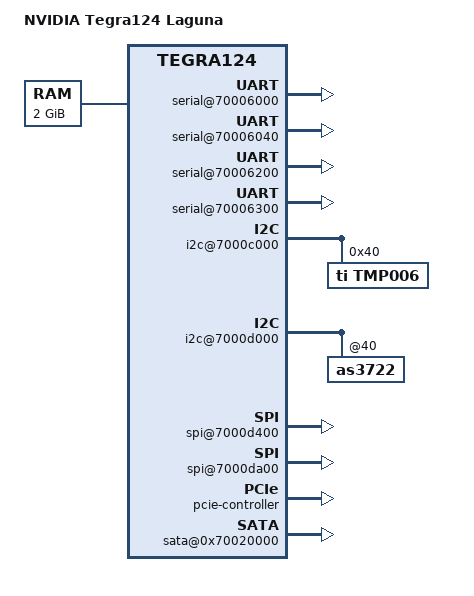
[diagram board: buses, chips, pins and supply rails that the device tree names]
/dts-v1/;

#include "tegra124.dtsi"
#include "tegra124-platforms/tegra124-tn8-keys-e1780-1100-a02.dtsi"
#include "tegra124-platforms/tegra124-pm359-gpio-default.dtsi"
#include "tegra124-platforms/tegra124-pm359-pinmux.dtsi"
#include "tegra124-platforms/tegra124-laguna-power-tree-pm359-0000-a00.dtsi"
#include "tegra124-platforms/tegra124-laguna-powermon-pm358.dtsi"

/ {
	model = "NVIDIA Tegra124 Laguna";
	compatible = "nvidia,laguna", "nvidia,tegra124";
	nvidia,dtsfilename = __FILE__;
	#address-cells = <2>;
	#size-cells = <2>;

	chosen {
		bootargs = "tegraid=40.0.0.00.00 vmalloc=256M video=tegrafb console=ttyS0,115200n8 earlyprintk";
		linux,initrd-start = <0x85000000>;
		linux,initrd-end = <0x851bc400>;
	};

	host1x {
		vi {
			avdd_dsi_csi-supply = <&as3722_ldo2>;
		};
	};

	pinmux@70000868 {
		pinctrl-names = "default", "drive", "unused", "suspend";
		pinctrl-3 = <&pinmux_suspend>;

		/* Change the pin dap_mclk1_req to required configurations */
		unused_lowpower {
			dap_mclk1_req_pee2 {
			nvidia,pins = "dap_mclk1_req_pee2";
			nvidia,function = "sata";
			nvidia,enable-input = <TEGRA_PIN_DISABLE>;
			nvidia,pull = <TEGRA_PIN_PULL_NONE>;
			nvidia,tristate = <TEGRA_PIN_DISABLE>;
			};
		};

		/* On suspend, make dap_mclk1_req to pull up */
		pinmux_suspend: pins_on_suspend {
		dap_mclk1_req_pee2 {
			nvidia,pins = "dap_mclk1_req_pee2";
			nvidia,pull = <TEGRA_PIN_PULL_UP>;
			};
		};
	};

        serial@70006000 {
                compatible = "nvidia,tegra114-hsuart";
                status = "okay";
        };

        serial@70006040 {
                compatible = "nvidia,tegra114-hsuart";
                status = "okay";
        };

        serial@70006200 {
                compatible = "nvidia,tegra114-hsuart";
                status = "okay";
        };

	serial@70006300 {
		compatible = "nvidia,tegra20-uart";
		console-port;
	};

	i2c@7000c000 {
		tmp006@40 {
			compatible = "ti,tmp006";
			reg = <0x40>;
		};
	};

	i2c@7000d000 {
		nvidia,bit-banging-xfer-after-shutdown;
		as3722@40 {
			ams,extcon-name = "as3722-extcon";
		};
	};

	memory@0x80000000 {
		device_type = "memory";
		reg = <0x0 0x80000000 0x0 0x80000000>;
	};

	spi@7000d400 {
		status = "okay";
		spi-max-frequency = <25000000>;
	};

	spi@7000da00 {
		status = "okay";
		spi-max-frequency = <25000000>;
	};

	pmc@7000e400 {
		status = "okay";
		nvidia,invert-interrupt;
		nvidia,suspend-mode = <0>;
		nvidia,cpu-pwr-good-time = <2000>;
		nvidia,cpu-pwr-off-time = <2000>;
		nvidia,core-pwr-good-time = <3845 3845>;
		nvidia,core-pwr-off-time = <2000>;
		nvidia,core-power-req-active-high;
		nvidia,sys-clock-req-active-high;
	};

	pcie-controller {
		nvidia,hot-plug-gpio = <&gpio TEGRA_GPIO(O, 1) 0>;
		nvidia,wake-gpio = <&gpio TEGRA_GPIO(DD, 3) 0>;
		hvdd-pex-supply = <&reg_3v3_supply>;
		hvdd-pex-pll-e-supply = <&reg_3v3_supply>;
		dvddio-pex-supply = <&as3722_sd4>;
		avddio-pex-supply = <&as3722_sd4>;
		avdd-pex-pll-supply = <&as3722_sd4>;
		vddio-pex-ctl-supply = <&as3722_sd4>;
		status = "okay";

		pci@1,0 {
			status = "okay";
		};

		pci@2,0 {
			status = "disabled";
		};
	};

	sata@0x70020000 {
		status = "okay";
		nvidia,pexp-gpio = <&tca6416 9 0>;
		nvidia,enable-sata-port;
		avdd_sata-supply = <&as3722_sd4>;
		vdd_sata-supply = <&as3722_sd4>;
		avdd_sata_pll-supply =<&as3722_sd4>;
		hvdd_sata-supply = <&as3722_gpio2_supply>;
		vddio_pex_sata-supply = <&vdd_ac_bat>;
	};
};
